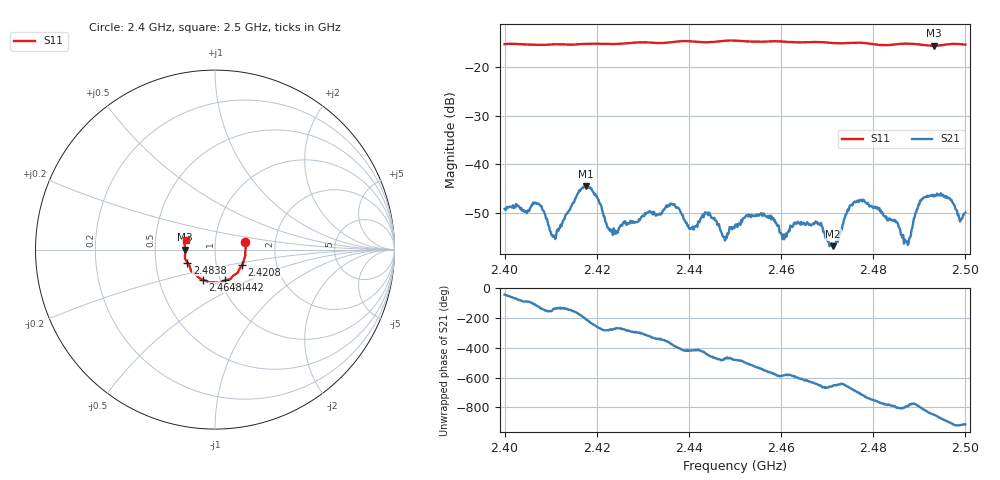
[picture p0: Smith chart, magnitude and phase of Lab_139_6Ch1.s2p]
# Hz S RI R 50
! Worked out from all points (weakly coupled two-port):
!   601 points, 2.4 GHz to 2.5 GHz, reference 50 ohm
!   highest |S21| = -44.48 dB at 2.4177 GHz (marker M1); lowest = -56.8 dB at 2.4713 GHz (marker M2)
!   lowest |S11| = -15.6 dB at 2.4932 GHz (marker M3), VSWR 1.40, Z = 35.8 - j0.0772 ohm
!   |S11| at or under -10 dB: start of sweep to end of sweep
!   S12 and S22 are empty: the file has one direction only
!   S11 on the Smith chart (normalised r, x): 2.4 GHz: 1.40, +0.12; 2.4208 GHz: 1.33, -0.24; 2.4442 GHz: 1.05, -0.37; 2.4648 GHz: 0.83, -0.29; 2.4838 GHz: 0.73, -0.11; 2.5 GHz: 0.72, +0.08
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2.4e9  0.1675 0.0412  0.00253 -0.00241  0 0  0 0
2.407167e9  0.1694 -0.0108  -0.00207 -0.0034  0 0  0 0
2.410667e9  0.169 -0.0314  -0.00137 -0.00124  0 0  0 0
2.416667e9  0.1588 -0.0683  -0.00559 0.000359  0 0  0 0
2.417667e9  0.157 -0.0743  -0.00522 0.00289  0 0  0 0
2.420833e9  0.1506 -0.087  0.000208 0.00389  0 0  0 0
2.424e9  0.1396 -0.1024  0.000165 0.00209  0 0  0 0
2.433333e9  0.1078 -0.1405  0.0029 0.000936  0 0  0 0
2.4405e9  0.0797 -0.1664  0.00111 -0.00189  0 0  0 0
2.444167e9  0.0567 -0.1714  -2.85e-05 -0.00301  0 0  0 0
2.447667e9  0.0343 -0.1833  -0.000717 -0.00165  0 0  0 0
2.45e9  0.0246 -0.186  -0.00121 -0.00203  0 0  0 0
2.464833e9  -0.0683 -0.1667  -0.000686 0.00242  0 0  0 0
2.466667e9  -0.0798 -0.1627  0.000133 0.0024  0 0  0 0
2.471333e9  -0.0984 -0.1472  0.000552 0.00134  0 0  0 0
2.476167e9  -0.1284 -0.1237  0.00349 0.0021  0 0  0 0
2.483333e9  -0.1506 -0.0762  0.00132 -0.00236  0 0  0 0
2.483833e9  -0.1533 -0.0721  0.00105 -0.00247  0 0  0 0
2.487167e9  -0.1667 -0.0518  0.000427 -0.00154  0 0  0 0
2.490333e9  -0.1672 -0.0329  0.000639 -0.00416  0 0  0 0
2.493167e9  -0.166 -0.00105  -0.00296 -0.00362  0 0  0 0
2.5e9  -0.1621 0.0528  -0.00311 0.000761  0 0  0 0
